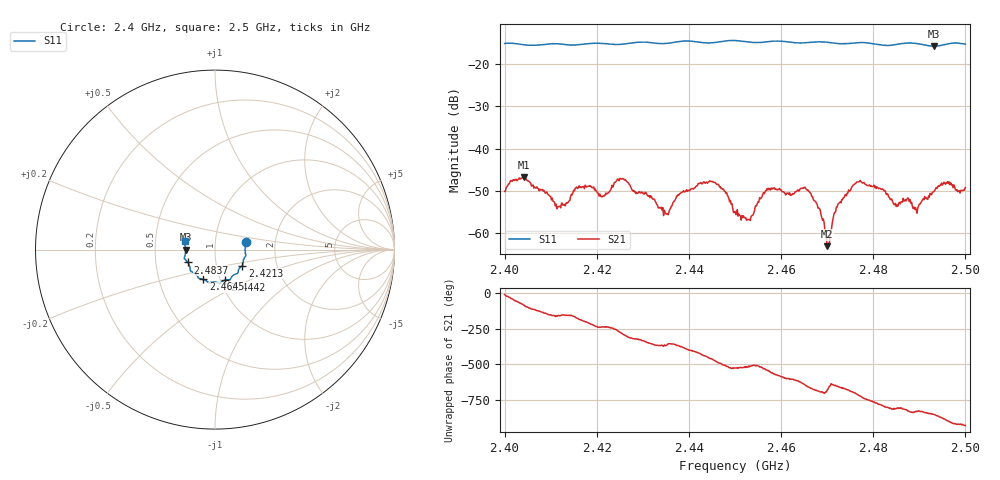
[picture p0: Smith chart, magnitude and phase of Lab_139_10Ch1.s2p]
# Hz S RI R 50
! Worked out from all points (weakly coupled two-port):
!   601 points, 2.4 GHz to 2.5 GHz, reference 50 ohm
!   highest |S21| = -46.68 dB at 2.4042 GHz (marker M1); lowest = -63.1 dB at 2.47 GHz (marker M2)
!   lowest |S11| = -15.7 dB at 2.4932 GHz (marker M3), VSWR 1.39, Z = 36 - j0.0584 ohm
!   |S11| at or under -10 dB: start of sweep to end of sweep
!   S12 and S22 are empty: the file has one direction only
!   S11 on the Smith chart (normalised r, x): 2.4 GHz: 1.41, +0.12; 2.4213 GHz: 1.33, -0.25; 2.4442 GHz: 1.05, -0.37; 2.4645 GHz: 0.83, -0.29; 2.4837 GHz: 0.73, -0.11; 2.5 GHz: 0.71, +0.07
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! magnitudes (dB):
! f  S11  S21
! 2.4 GHz  -15.1  -50.1
! 2.4042 GHz  -15.4  -46.7
! 2.4117 GHz  -15.2  -53.7
! 2.4167 GHz  -15.3  -49.2
! 2.4213 GHz  -15.1  -51.2
! 2.4255 GHz  -15.3  -47.2
! 2.4333 GHz  -15.1  -54.0
! 2.4353 GHz  -15.1  -55.5
! 2.4442 GHz  -15.0  -47.9
! 2.45 GHz  -14.4  -54.8
! 2.453 GHz  -14.8  -56.8
! 2.457 GHz  -14.7  -49.4
! 2.4645 GHz  -15.0  -49.4
! 2.4667 GHz  -14.8  -51.3
! 2.47 GHz  -14.8  -63.1
! 2.4722 GHz  -15.1  -53.8
! 2.4762 GHz  -15.0  -48.3
! 2.4833 GHz  -15.6  -51.4
! 2.4837 GHz  -15.5  -52.0
! 2.4892 GHz  -15.1  -54.0
! 2.4932 GHz  -15.7  -50.1
! 2.5 GHz  -15.2  -49.2
